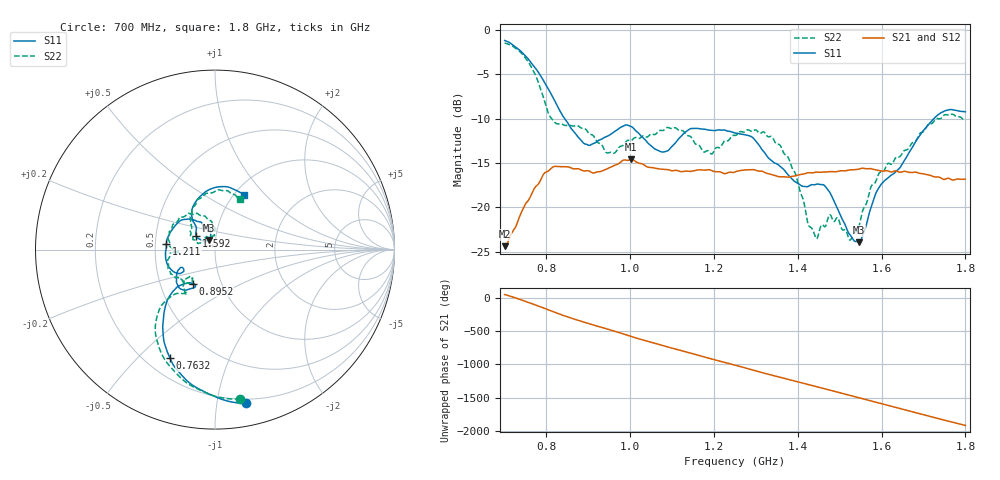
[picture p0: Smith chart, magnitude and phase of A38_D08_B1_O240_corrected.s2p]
! Created with skrf 1.9.0 (http://scikit-rf.org).
# Hz S RI R 50.0
!freq ReS11 ImS11 ReS21 ImS21 ReS12 ImS12 ReS22 ImS22
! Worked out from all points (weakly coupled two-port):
!   1601 points, 700 MHz to 1.8 GHz, reference 50 ohm
!   highest |S21| = -14.59 dB at 1.002 GHz (marker M1); lowest = -24.4 dB at 700.7 MHz (marker M2)
!   lowest |S11| = -23.9 dB at 1.546 GHz (marker M3), VSWR 1.14, Z = 46.3 + j4.94 ohm
!   |S11| at or under -10 dB: 843.5 MHz to 1.725 GHz (881.1 MHz wide, 68.6 % of centre)
!   |S22| runs from -23.7 to -1.5 dB; largest |S21 - S12| = 0.0035
!   S11 on the Smith chart (normalised r, x): 700 MHz: 0.17, -1.21; 763.2 MHz: 0.30, -0.62; 895.2 MHz: 0.73, -0.29; 1.211 GHz: 0.57, +0.04; 1.592 GHz: 0.80, +0.12; 1.8 GHz: 1.11, +0.77
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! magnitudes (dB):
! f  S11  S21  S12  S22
! 700 MHz  -1.2  -24.4  -24.1  -1.5
! 700.7 MHz  -1.2  -24.4  -24.1  -1.5
! 763.2 MHz  -3.7  -18.6  -18.6  -4.1
! 814.8 MHz  -7.5  -15.5  -15.5  -10.1
! 883.6 MHz  -12.5  -15.8  -15.7  -11.1
! 895.2 MHz  -12.9  -15.9  -15.9  -11.3
! 946.1 MHz  -12.0  -15.6  -15.6  -13.9
! 1.002 GHz  -10.9  -14.6  -14.7  -12.4
! 1.067 GHz  -13.6  -15.7  -15.6  -11.4
! 1.211 GHz  -11.3  -16.0  -16.0  -13.3
! 1.25 GHz  -11.6  -16.0  -15.9  -11.9
! 1.357 GHz  -15.4  -16.5  -16.5  -13.0
! 1.394 GHz  -17.1  -16.4  -16.4  -16.2
! 1.434 GHz  -17.4  -16.1  -16.1  -22.4
! 1.468 GHz  -17.8  -16.0  -16.0  -21.9
! 1.495 GHz  -20.1  -15.9  -15.9  -21.2
! 1.525 GHz  -23.1  -15.8  -15.8  -23.7
! 1.546 GHz  -23.9  -15.7  -15.7  -22.2
! 1.592 GHz  -17.9  -15.8  -15.8  -16.4
! 1.617 GHz  -16.6  -15.9  -15.9  -15.0
! 1.733 GHz  -9.6  -16.6  -16.6  -10.0
! 1.8 GHz  -9.2  -16.8  -16.8  -10.1
